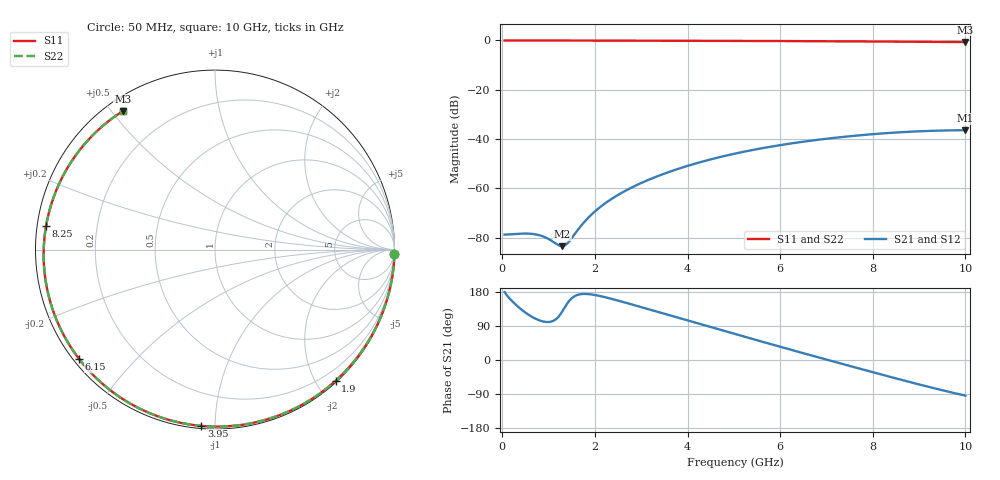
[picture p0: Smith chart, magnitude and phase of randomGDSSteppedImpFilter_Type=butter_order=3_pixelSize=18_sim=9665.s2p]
! freq	dB(S11)	phase(S11)	dB(S12)	phase(S12)
!  dB(S21)	phase(S21)	dB(S22)	phase(S22)
!S-par simulation data
#  GHz  S  DB  R 50
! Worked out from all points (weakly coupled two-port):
!   200 points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, 50 MHz to 10 GHz, reference 50 ohm
!   highest |S21| = -36.40 dB at 10 GHz (marker M1); lowest = -83.4 dB at 1.3 GHz (marker M2)
!   lowest |S11| = -0.7 dB at 10 GHz (marker M3), VSWR 26.24, Z = 2.45 + j26.7 ohm
!   |S11| at or under -10 dB: nowhere
!   |S22| runs from -0.7 to 0.0 dB; largest |S21 - S12| = 0
!   S11 on the Smith chart (normalised r, x): 50 MHz: 0, -90; 1.9 GHz: 0.02, -2.28; 3.95 GHz: 0.01, -0.93; 6.15 GHz: 0.02, -0.35; 8.25 GHz: 0.03, +0.07; 10 GHz: 0.05, +0.53
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0.05  -0.00 -1.3  -78.75 179.2  -78.75 179.2  -0.00 -1.3
0.6  -0.01 -15.3  -78.37 116.9  -78.37 116.9  -0.01 -15.3
0.95  -0.03 -24.1  -80.04 100.3  -80.04 100.3  -0.03 -24.1
1.3  -0.04 -32.8  -83.43 129.0  -83.43 129.0  -0.04 -32.8
1.5  -0.05 -37.7  -80.14 163.0  -80.14 163.0  -0.05 -37.7
1.75  -0.06 -43.8  -74.05 174.4  -74.05 174.4  -0.06 -43.8
1.9  -0.06 -47.4  -71.07 173.4  -71.07 173.4  -0.06 -47.4
2.2  -0.07 -54.6  -66.33 166.3  -66.33 166.3  -0.07 -54.6
2.55  -0.08 -62.8  -62.09 155.1  -62.09 155.1  -0.08 -62.8
2.95  -0.09 -72.1  -58.23 141.3  -58.23 141.3  -0.09 -72.1
3.4  -0.11 -82.3  -54.70 125.6  -54.70 125.6  -0.11 -82.3
3.95  -0.13 -94.4  -51.15 106.3  -51.15 106.3  -0.13 -94.4
4.5  -0.15 -106.3  -48.23 87.0  -48.23 87.0  -0.15 -106.3
5.05  -0.18 -118.0  -45.78 67.8  -45.78 67.8  -0.18 -118.0
6.15  -0.25 -141.1  -42.01 29.8  -42.01 29.8  -0.25 -141.2
6.7  -0.29 -152.8  -40.56 11.2  -40.56 11.2  -0.29 -152.9
7.5  -0.36 -170.4  -38.85 -15.6  -38.85 -15.6  -0.36 -170.4
8.25  -0.44 172.1  -37.64 -40.4  -37.64 -40.4  -0.44 172.0
8.35  -0.45 169.7  -37.51 -43.7  -37.51 -43.7  -0.45 169.6
9.2  -0.56 147.5  -36.69 -70.7  -36.69 -70.7  -0.56 147.4
9.6  -0.61 136.0  -36.49 -82.7  -36.49 -82.7  -0.61 135.9
10  -0.66 123.7  -36.40 -94.0  -36.40 -94.0  -0.66 123.5
